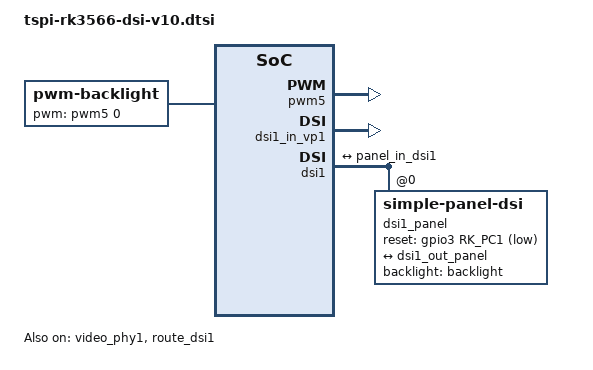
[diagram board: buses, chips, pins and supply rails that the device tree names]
// SPDX-License-Identifier: (GPL-2.0+ OR MIT)
/*
 * Copyright (c) 2020 Rockchip Electronics Co., Ltd.
 *
 */
/*********************************************************************
 *           立创开发板不靠卖板赚钱，以培养中国工程师为己任          
 *         泰山派软硬件资料与相关扩展板软硬件资料官网全部开源		 
 *                      开发板官网：www.lckfb.com                    
 *                     立创论坛：oshwhub.com/forum                   
 *            关注B站：【立创开发板】，掌握我们的最新动态！          
 *********************************************************************
 * 文件名：tspi-rk3566-dsi-v10.dtsi
 * 描述：mipi 屏幕
 * 更新:
 * 时间          作者           联系           说明
 * 2023-07-21   吴才成    1378913492@qq.com   v1.0.0
 *********************************************************************/
/ {
	backlight: backlight {
		compatible = "pwm-backlight";
		pwms = <&pwm5 0 25000 0>;
		brightness-levels = <
			  0  20  20  21  21  22  22  23
			 23  24  24  25  25  26  26  27
			 27  28  28  29  29  30  30  31
			 31  32  32  33  33  34  34  35
			 35  36  36  37  37  38  38  39
			 40  41  42  43  44  45  46  47
			 48  49  50  51  52  53  54  55
			 56  57  58  59  60  61  62  63
			 64  65  66  67  68  69  70  71
			 72  73  74  75  76  77  78  79
			 80  81  82  83  84  85  86  87
			 88  89  90  91  92  93  94  95
			 96  97  98  99 100 101 102 103
			104 105 106 107 108 109 110 111
			112 113 114 115 116 117 118 119
			120 121 122 123 124 125 126 127
			128 129 130 131 132 133 134 135
			136 137 138 139 140 141 142 143
			144 145 146 147 148 149 150 151
			152 153 154 155 156 157 158 159
			160 161 162 163 164 165 166 167
			168 169 170 171 172 173 174 175
			176 177 178 179 180 181 182 183
			184 185 186 187 188 189 190 191
			192 193 194 195 196 197 198 199
			200 201 202 203 204 205 206 207
			208 209 210 211 212 213 214 215
			216 217 218 219 220 221 222 223
			224 225 226 227 228 229 230 231
			232 233 234 235 236 237 238 239
			240 241 242 243 244 245 246 247
			248 249 250 251 252 253 254 255
		>;
		default-brightness-level = <255>;
	};
};

&pwm5 {
	status = "okay";
};


&pinctrl {
	dsi1 {
		dsi1_rst_gpio: dsi1-rst-gpio {
			rockchip,pins = <3 RK_PC1 RK_FUNC_GPIO &pcfg_pull_none>;
		};
	};
};

/*
 * video_phy1 needs to be enabled
 * when dsi1 is enabled
 */



&dsi1_in_vp0 {
	status = "disabled";
};

&dsi1_in_vp1 {
	status = "okay";
};

&video_phy1 {
	status = "okay";
};

&route_dsi1 {
	status = "okay";//wucaicheng mipi okay
	connect = <&vp1_out_dsi1>;
};

//默认 8寸800x1280
&dsi1 {
	status = "okay";
	rockchip,lane-rate = <450>;
	dsi1_panel: panel@0 {
		status = "okay";
		compatible = "simple-panel-dsi";
		reset-gpios = <&gpio3 RK_PC1 GPIO_ACTIVE_LOW>;
		pinctrl-names = "default";
		pinctrl-0 = <&dsi1_rst_gpio>;
		reg = <0>;
		backlight = <&backlight>;
		reset-delay-ms = <30>;
		enable-delay-ms = <100>;
		init-delay-ms = <10>;
		prepare-delay-ms = <20>;
		unprepare-delay-ms = <20>;
		disable-delay-ms = <20>;
		panel-orientation = "portrait";
		dsi,flags = <(
			MIPI_DSI_MODE_VIDEO |
			MIPI_DSI_MODE_VIDEO_BURST |
			MIPI_DSI_MODE_LPM |
			MIPI_DSI_MODE_EOT_PACKET
		)>;
		dsi,format = <MIPI_DSI_FMT_RGB888>;
		dsi,lanes  = <4>;
		panel-init-sequence = [
15 00 04 FF 98 81 03
	15 00 02 01 00
	15 00 02 02 00
	15 00 02 03 53
	15 00 02 04 53
	15 00 02 05 13
	15 00 02 06 04
	15 00 02 07 02
	15 00 02 08 02
	15 00 02 09 00
	15 00 02 0A 00
	15 00 02 0B 00
	15 00 02 0C 00
	15 00 02 0D 00
	15 00 02 0E 00
	15 00 02 0F 00

	15 00 02 10 00
	15 00 02 11 00
	15 00 02 12 00
	15 00 02 13 00
	15 00 02 14 00
	15 00 02 15 00
	15 00 02 16 00
	15 00 02 17 00
	15 00 02 18 00
	15 00 02 19 00
	15 00 02 1A 00
	15 00 02 1B 00
	15 00 02 1C 00
	15 00 02 1D 00
	15 00 02 1E C0
	15 00 02 1F 00

	15 00 02 20 02
	15 00 02 21 09
	15 00 02 22 00
	15 00 02 23 00
	15 00 02 24 00
	15 00 02 25 00
	15 00 02 26 00
	15 00 02 27 00
	15 00 02 28 55
	15 00 02 29 03
	15 00 02 2A 00
	15 00 02 2B 00
	15 00 02 2C 00
	15 00 02 2D 00
	15 00 02 2E 00
	15 00 02 2F 00

	15 00 02 30 00
	15 00 02 31 00
	15 00 02 32 00
	15 00 02 33 00
	15 00 02 34 00
	15 00 02 35 00
	15 00 02 36 00
	15 00 02 37 00
	15 00 02 38 3C
	15 00 02 39 00
	15 00 02 3A 00
	15 00 02 3B 00
	15 00 02 3C 00
	15 00 02 3D 00
	15 00 02 3E 00
	15 00 02 3F 00

	15 00 04 FF 98 81 04
	15 00 02 3B C0
	15 00 02 6C 15
	15 00 02 6E 30
	15 00 02 6F 55
	15 00 02 3A 24
	15 00 02 8D 1F
	15 00 02 87 BA
	15 00 02 26 76
	15 00 02 B2 D1
	15 00 02 B5 07
	15 00 02 35 1F
	15 00 02 88 0B
	15 00 02 21 30

	15 00 04 FF 98 81 01
	15 00 02 22 0A
	15 00 02 31 09
	15 00 02 40 33
	15 00 02 53 37
	15 00 02 55 38
	15 00 02 50 95
	15 00 02 51 95
	15 00 02 60 09
	15 00 02 56 00

	15 00 04 FF 98 81 00
	15 00 02 35 00
	05 96
	15 00 02 11 00
	05 96
	15 00 02 29 00
	05 32
			
		];

		panel-exit-sequence = [
			05 00 01 28
			05 00 01 10
		];

		disp_timings1: display-timings {
			native-mode = <&dsi1_timing0>;
			dsi1_timing0: timing0 {
				clock-frequency = <71000000>;
				hactive = <800>;
				vactive = <1280>;
				hfront-porch = <52>;
				hsync-len = <8>;
				hback-porch = <48>;
				vfront-porch = <15>;
				vsync-len = <6>;
				vback-porch = <16>;
				hsync-active = <0>;
				vsync-active = <0>;
				de-active = <0>;
				pixelclk-active = <0>;
			};
		};

		ports {
			#address-cells = <1>;
			#size-cells = <0>;

			port@0 {
				reg = <0>;
				panel_in_dsi1: endpoint {
					remote-endpoint = <&dsi1_out_panel>;
				};
			};
		};
	};

	ports {
		#address-cells = <1>;
		#size-cells = <0>;

		port@1 {
			reg = <1>;
			dsi1_out_panel: endpoint {
				remote-endpoint = <&panel_in_dsi1>;
			};
		};
	};

};

// &dsi1 {
// 	status = "okay";
// 	rockchip,lane-rate = <1000>;
// 	dsi1_panel: panel@0 {
// 		status = "okay";
// 		compatible = "simple-panel-dsi";
// 		reset-gpios = <&gpio3 RK_PC1 GPIO_ACTIVE_LOW>;
// 		pinctrl-names = "default";
// 		pinctrl-0 = <&dsi1_rst_gpio>;
// 		reg = <0>;
// 		backlight = <&backlight>;
// 		reset-delay-ms = <100>;
// 		enable-delay-ms = <120>;
// 		prepare-delay-ms = <20>;
// 		unprepare-delay-ms = <20>;
// 		disable-delay-ms = <100>;
// 		dsi,flags = <(MIPI_DSI_MODE_VIDEO | MIPI_DSI_MODE_VIDEO_BURST |
// 			MIPI_DSI_MODE_LPM | MIPI_DSI_MODE_EOT_PACKET)>;
// 		dsi,format = <MIPI_DSI_FMT_RGB888>;
// 		dsi,lanes  = <4>;
// 		panel-init-sequence = [
// 			15 00 02 B0 01
// 			15 00 02 C3 4F
// 			15 00 02 C4 40
// 			15 00 02 C5 40
// 			15 00 02 C6 40
// 			15 00 02 C7 40
// 			15 00 02 C8 4D
// 			15 00 02 C9 52
// 			15 00 02 CA 51
// 			15 00 02 CD 5D
// 			15 00 02 CE 5B
// 			15 00 02 CF 4B
// 			15 00 02 D0 49
// 			15 00 02 D1 47
// 			15 00 02 D2 45
// 			15 00 02 D3 41
// 			15 00 02 D7 50
// 			15 00 02 D8 40
// 			15 00 02 D9 40
// 			15 00 02 DA 40
// 			15 00 02 DB 40
// 			15 00 02 DC 4E
// 			15 00 02 DD 52
// 			15 00 02 DE 51
// 			15 00 02 E1 5E
// 			15 00 02 E2 5C
// 			15 00 02 E3 4C
// 			15 00 02 E4 4A
// 			15 00 02 E5 48
// 			15 00 02 E6 46
// 			15 00 02 E7 42
// 			15 00 02 B0 03
// 			15 00 02 BE 03
// 			15 00 02 CC 44
// 			15 00 02 C8 07
// 			15 00 02 C9 05
// 			15 00 02 CA 42
// 			15 00 02 CD 3E
// 			15 00 02 CF 60
// 			15 00 02 D2 04
// 			15 00 02 D3 04
// 			15 00 02 D4 01
// 			15 00 02 D5 00
// 			15 00 02 D6 03
// 			15 00 02 D7 04
// 			15 00 02 D9 01
// 			15 00 02 DB 01
// 			15 00 02 E4 F0
// 			15 00 02 E5 0A
// 			15 00 02 B0 00
// 			15 00 02 B1 08
// 			15 00 02 BD 54
// 			15 00 02 C2 06
// 			15 00 02 C4 0B
// 			15 00 02 B0 02
// 			15 00 02 C0 00
// 			15 00 02 C1 0A
// 			15 00 02 C2 20
// 			15 00 02 C3 24
// 			15 00 02 C4 23
// 			15 00 02 C5 29
// 			15 00 02 C6 23
// 			15 00 02 C7 1C
// 			15 00 02 C8 19
// 			15 00 02 C9 17
// 			15 00 02 CA 17
// 			15 00 02 CB 18
// 			15 00 02 CC 1A
// 			15 00 02 CD 1E
// 			15 00 02 CE 20
// 			15 00 02 CF 23
// 			15 00 02 D0 07
// 			15 00 02 D1 00
// 			15 00 02 D2 00
// 			15 00 02 D3 0A
// 			15 00 02 D4 13
// 			15 00 02 D5 1C
// 			15 00 02 D6 1A
// 			15 00 02 D7 13
// 			15 00 02 D8 17
// 			15 00 02 D9 1C
// 			15 00 02 DA 19
// 			15 00 02 DB 17
// 			15 00 02 DC 17
// 			15 00 02 DD 18
// 			15 00 02 DE 1A
// 			15 00 02 DF 1E
// 			15 00 02 E0 20
// 			15 00 02 E1 23
// 			15 00 02 E2 07
// 			05 78 01 11
// 			05 14 01 29
// 		];

// 		panel-exit-sequence = [
// 			05 00 01 28
// 			05 00 01 10
// 		];

// 		disp_timings1: display-timings {
// 			native-mode = <&dsi1_timing0>;
// 			dsi1_timing0: timing0 {
// 				clock-frequency = <156000000>;
// 				hactive = <1200 >;
// 				vactive = <1920>;
// 				hfront-porch = <42>;
// 				hsync-len = <10>;
// 				hback-porch = <32>;
// 				vfront-porch = <35>;
// 				vsync-len = <4>;
// 				vback-porch = <30>;
// 				hsync-active = <0>;
// 				vsync-active = <0>;
// 				de-active = <0>;
// 				pixelclk-active = <0>;
// 			};
// 		};

// 		ports {
// 			#address-cells = <1>;
// 			#size-cells = <0>;

// 			port@0 {
// 				reg = <0>;
// 				panel_in_dsi1: endpoint {
// 					remote-endpoint = <&dsi1_out_panel>;
// 				};
// 			};
// 		};
// 	};

// 	ports {
// 		#address-cells = <1>;
// 		#size-cells = <0>;

// 		port@1 {
// 			reg = <1>;
// 			dsi1_out_panel: endpoint {
// 				remote-endpoint = <&panel_in_dsi1>;
// 			};
// 		};
// 	};

// };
